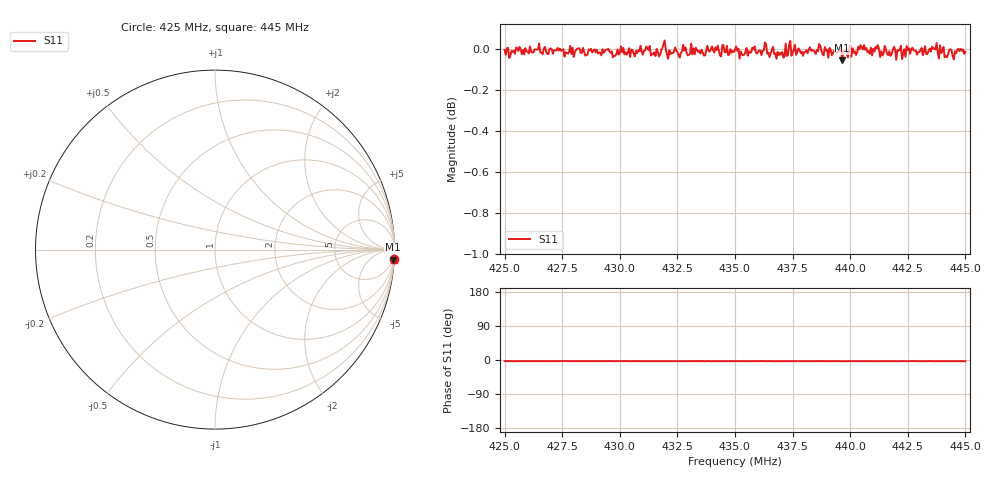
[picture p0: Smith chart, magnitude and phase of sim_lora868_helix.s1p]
! AntennaFox export: 868 MHz helix (simulated) (sample-sim_lora868_helix)
! Instrument: AntennaFox,Simulator,SIM-0001,1.0
! Calibration (instrument-reported): SOLT_1 (simulated)
! Simulated: True
! Segment: 433 MHz detail
# HZ S RI R 50
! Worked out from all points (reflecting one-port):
!   401 points, 425 MHz to 445 MHz, reference 50 ohm
!   lowest |S11| = -0.1 dB at 439.65 MHz (marker M1), VSWR 305.81, Z = 203 - j1.75e+03 ohm
!   phase of S11 starts at -3 deg and turns -0 deg over the sweep
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4.25e8  0.998 -0.051
4.2545e8  0.9956 -0.0545
4.258e8  0.9981 -0.0489
4.261e8  0.9998 -0.0546
4.275e8  0.9979 -0.0512
4.281e8  0.9976 -0.0562
4.29e8  0.9982 -0.0494
4.3e8  0.9965 -0.0506
4.312e8  0.9989 -0.0536
4.3145e8  0.9954 -0.0534
4.3195e8  1.003 -0.0562
4.3215e8  0.9977 -0.0534
4.325e8  0.9969 -0.0518
4.328e8  0.9974 -0.0551
4.35e8  0.9978 -0.0546
4.353e8  0.9954 -0.0526
4.363e8  1.002 -0.051
4.3705e8  0.9969 -0.0498
4.375e8  0.9963 -0.0543
4.383e8  0.9974 -0.0532
4.3875e8  0.9978 -0.0494
4.3965e8  0.9919 -0.056
4.4e8  1 -0.055
4.425e8  0.9977 -0.0556
4.4325e8  0.9999 -0.055
4.435e8  0.997 -0.0525
4.442e8  0.9937 -0.0549
4.45e8  0.9965 -0.0577
